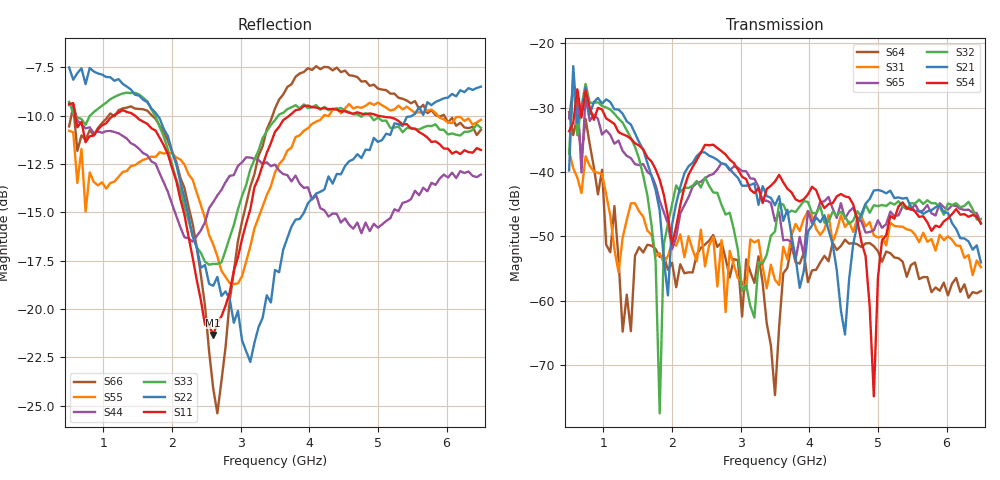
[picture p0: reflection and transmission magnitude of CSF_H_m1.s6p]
!Keysight Technologies,M9804A,MY58100912,A.14.10.03
!Date: Thursday, April 27, 2023 10:28:33
!Correction: S11(C  6-Port  )
!S12(C  6-Port  )
!S13(C  6-Port  )
!S14(C  6-Port  )
!S15(C  6-Port  )
!S16(C  6-Port  )
!S21(C  6-Port  )
!S22(C  6-Port  )
!S23(C  6-Port  )
!S24(C  6-Port  )
!S25(C  6-Port  )
!S26(C  6-Port  )
!S31(C  6-Port  )
!S32(C  6-Port  )
!S33(C  6-Port  )
!S34(C  6-Port  )
!S35(C  6-Port  )
!S36(C  6-Port  )
!S41(C  6-Port  )
!S42(C  6-Port  )
!S43(C  6-Port  )
!S44(C  6-Port  )
!S45(C  6-Port  )
!S46(C  6-Port  )
!S51(C  6-Port  )
!S52(C  6-Port  )
!S53(C  6-Port  )
!S54(C  6-Port  )
!S55(C  6-Port  )
!S56(C  6-Port  )
!S61(C  6-Port  )
!S62(C  6-Port  )
!S63(C  6-Port  )
!S64(C  6-Port  )
!S65(C  6-Port  )
!S66(C  6-Port  )
!S6P File: Measurement: :
# Hz S  RI  R 50
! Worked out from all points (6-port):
!   101 points, 500 MHz to 6.5 GHz, reference 50 ohm
!   strongest paths, dB at 500 MHz, 2 GHz, 3.5 GHz, 5 GHz, 6.5 GHz:
!     S54: -33.7, -51.2, -41.5, -56.5, -48.0
!     S21: -39.8, -48.2, -45.2, -42.8, -54.1
!     S32: -37.2, -45.1, -49.3, -45.3, -47.3
!     S65: -31.7, -52.0, -47.7, -47.5, -48.0
!     S31: -36.8, -51.1, -56.8, -50.2, -54.8
!     S64: -30.7, -54.1, -74.7, -52.3, -58.5
!   lowest |S11| = -21.3 dB at 2.6 GHz (marker M1), VSWR 1.19, Z = 42.4 + j2.3 ohm
!   |S11| at or under -10 dB: 591.1 MHz to 1.146 GHz (555.2 MHz wide, 63.9 % of centre); 1.461 GHz to 3.709 GHz (2.248 GHz wide, 87 % of centre); 4.994 GHz to end of sweep
